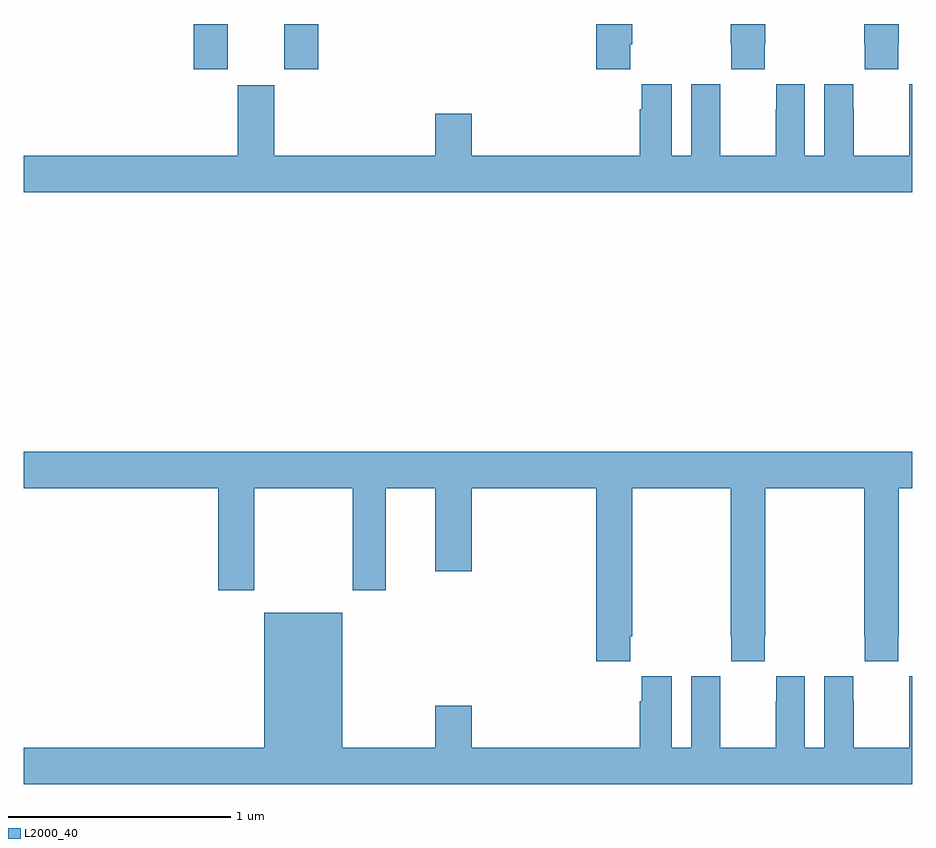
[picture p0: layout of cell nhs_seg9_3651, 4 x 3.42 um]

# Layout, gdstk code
import gdstk
lib = gdstk.Library(unit=1e-6, precision=1e-09)
def R(c, l, rs):  # rectangles x0, y0, x1, y1
    for r in rs: c.add(gdstk.rectangle(r[:2], r[2:], *l))
def P(c, l, *ps):  # polygons
    for p in ps: c.add(gdstk.Polygon(p, *l))
L2000_40 = (2000, 40)

nhs_seg9_3651 = lib.new_cell('nhs_seg9_3651')
R(nhs_seg9_3651, L2000_40, [(319.766,1206.297,319.918,1206.5), (320.174,1206.297,320.327,1206.5)])
P(nhs_seg9_3651, L2000_40, [(321.731,1206.409),(321.738,1206.409),(321.738,1206.5),(321.578,1206.5),(321.578,1206.297),(321.731,1206.297)],
  [(322.335,1206.409),(322.338,1206.409),(322.338,1206.5),(322.183,1206.5),(322.183,1206.409),(322.185,1206.409),(322.185,1206.297),(322.335,1206.297)],
  [(322.935,1206.409),(322.938,1206.409),(322.938,1206.5),(322.783,1206.5),(322.783,1206.409),(322.785,1206.409),(322.785,1206.297),(322.935,1206.297)],
  [(323,1206.229),(322.986,1206.229),(322.986,1206.116),(322.985,1206.116),(322.985,1205.908),(322.735,1205.908),(322.735,1206.116),(322.734,1206.116),(322.734,1206.229),(322.604,1206.229),(322.604,1205.908),(322.516,1205.908),(322.516,1206.229),(322.386,1206.229),(322.386,1206.116),(322.385,1206.116),(322.385,1205.908),(322.135,1205.908),(322.135,1206.116),(322.134,1206.116),(322.134,1206.229),(322.004,1206.229),(322.004,1205.908),(321.916,1205.908),(321.916,1206.229),(321.782,1206.229),(321.782,1206.116),(321.773,1206.116),(321.773,1205.908),(321.016,1205.908),(321.016,1206.097),(320.852,1206.097),(320.852,1205.908),(320.128,1205.908),(320.128,1206.225),(319.964,1206.225),(319.964,1205.908),(319,1205.908),(319,1205.744),(323,1205.744)],
  [(321.731,1203.745),(321.738,1203.745),(321.738,1204.412),(322.183,1204.412),(322.183,1203.745),(322.185,1203.745),(322.185,1203.633),(322.335,1203.633),(322.335,1203.745),(322.338,1203.745),(322.338,1204.412),(322.783,1204.412),(322.783,1203.745),(322.785,1203.745),(322.785,1203.633),(322.935,1203.633),(322.935,1203.745),(322.938,1203.745),(322.938,1204.412),(323,1204.412),(323,1204.576),(319,1204.576),(319,1204.412),(319.877,1204.412),(319.877,1203.951),(320.037,1203.951),(320.037,1204.412),(320.482,1204.412),(320.482,1203.951),(320.629,1203.951),(320.629,1204.412),(320.852,1204.412),(320.852,1204.038),(321.016,1204.038),(321.016,1204.412),(321.578,1204.412),(321.578,1203.633),(321.731,1203.633)],
  [(323,1203.565),(322.986,1203.565),(322.986,1203.452),(322.985,1203.452),(322.985,1203.244),(322.735,1203.244),(322.735,1203.452),(322.734,1203.452),(322.734,1203.565),(322.604,1203.565),(322.604,1203.244),(322.516,1203.244),(322.516,1203.565),(322.386,1203.565),(322.386,1203.452),(322.385,1203.452),(322.385,1203.244),(322.135,1203.244),(322.135,1203.452),(322.134,1203.452),(322.134,1203.565),(322.004,1203.565),(322.004,1203.244),(321.916,1203.244),(321.916,1203.565),(321.782,1203.565),(321.782,1203.452),(321.773,1203.452),(321.773,1203.244),(321.016,1203.244),(321.016,1203.433),(320.852,1203.433),(320.852,1203.244),(320.434,1203.244),(320.434,1203.85),(320.084,1203.85),(320.084,1203.244),(319,1203.244),(319,1203.08),(323,1203.08)])

lib.write_gds('nhs_seg9_3651.gds')
